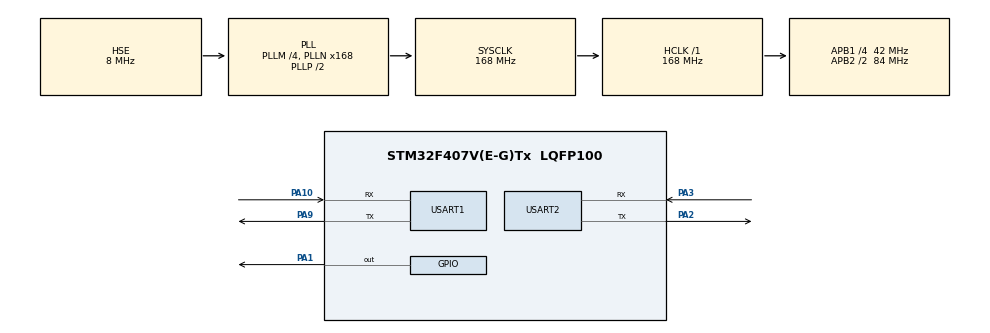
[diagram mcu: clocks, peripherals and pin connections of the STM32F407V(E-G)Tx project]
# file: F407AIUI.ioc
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Mcu.Family=STM32F4
Mcu.Name=STM32F407V(E-G)Tx
Mcu.Package=LQFP100
NVIC.PriorityGroup=NVIC_PRIORITYGROUP_4
NVIC.TIM1_UP_TIM10_IRQn=true\:0\:0\:false\:false\:true\:false\:true
NVIC.TIM6_DAC_IRQn=true\:0\:0\:false\:false\:true\:true\:true
NVIC.TimeBase=TIM1_UP_TIM10_IRQn
NVIC.TimeBaseIP=TIM1
NVIC.USART1_IRQn=true\:0\:0\:false\:true\:true\:2\:true\:true
NVIC.USART2_IRQn=true\:0\:0\:false\:true\:true\:1\:true\:true
PA1.GPIO_Speed=GPIO_SPEED_FREQ_HIGH
PA1.Signal=GPIO_Output
PA10.Mode=Asynchronous
PA10.Signal=USART1_RX
PA13.Mode=Serial_Wire
PA13.Signal=SYS_JTMS-SWDIO
PA14.Mode=Serial_Wire
PA14.Signal=SYS_JTCK-SWCLK
PA2.Mode=Asynchronous
PA2.Signal=USART2_TX
PA3.Mode=Asynchronous
PA3.Signal=USART2_RX
PA9.Mode=Asynchronous
PA9.Signal=USART1_TX
PC14-OSC32_IN.Mode=LSE-External-Oscillator
PC14-OSC32_IN.Signal=RCC_OSC32_IN
PC15-OSC32_OUT.Mode=LSE-External-Oscillator
PC15-OSC32_OUT.Signal=RCC_OSC32_OUT
PH0-OSC_IN.Mode=HSE-External-Oscillator
PH0-OSC_IN.Signal=RCC_OSC_IN
PH1-OSC_OUT.Mode=HSE-External-Oscillator
PH1-OSC_OUT.Signal=RCC_OSC_OUT
ProjectManager.HeapSize=0x200
ProjectManager.StackSize=0x400
ProjectManager.TargetToolchain=SW4STM32
RCC.48MHZClocksFreq_Value=84000000
RCC.AHBFreq_Value=168000000
RCC.APB1CLKDivider=RCC_HCLK_DIV4
RCC.APB1Freq_Value=42000000
RCC.APB1TimFreq_Value=84000000
RCC.APB2CLKDivider=RCC_HCLK_DIV2
RCC.APB2Freq_Value=84000000
RCC.APB2TimFreq_Value=168000000
RCC.CortexFreq_Value=168000000
RCC.HCLKFreq_Value=168000000
RCC.HSE_VALUE=8000000
RCC.HSI_VALUE=16000000
RCC.PLLM=4
RCC.PLLN=168
RCC.PLLSourceVirtual=RCC_PLLSOURCE_HSE
RCC.RCC_RTC_Clock_Source=RCC_RTCCLKSOURCE_LSE
RCC.RCC_RTC_Clock_SourceVirtual=RCC_RTCCLKSOURCE_LSE
RCC.SYSCLKFreq_VALUE=168000000
RCC.SYSCLKSource=RCC_SYSCLKSOURCE_PLLCLK
RCC.VCOOutputFreq_Value=336000000
RTC.Date=22
RTC.Hours=20
RTC.Minutes=38
RTC.Month=RTC_MONTH_OCTOBER
RTC.WeekDay=RTC_WEEKDAY_TUESDAY
RTC.Year=19
USART1.VirtualMode=VM_ASYNC
USART2.VirtualMode=VM_ASYNC
VP_RTC_VS_RTC_Activate.Mode=RTC_Enabled
VP_RTC_VS_RTC_Calendar.Mode=RTC_Calendar
VP_SYS_VS_tim1.Mode=TIM1
VP_TIM6_VS_ClockSourceINT.Mode=Enable_Timer
board=custom

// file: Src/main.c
/* USER CODE BEGIN Header */
/* USER CODE END Header */

#include "main.h"
#include "rtc.h"
#include "tim.h"
#include "usart.h"
#include "gpio.h"

/* USER CODE BEGIN Includes */
#include "aiui.h"

/* USER CODE END Includes */

void SystemClock_Config(void);
static void MX_NVIC_Init(void);

/* USER CODE BEGIN 0 */

uint8_t a[20480];
uint8_t b[20480];

//void rx_it_init() {
//    HAL_UART_Receive_IT(&huart1, a, 1);
//    HAL_UART_Receive_IT(&huart2, b, 1);
//    vTaskDelete(NULL);
//}
//
//void rx_it_deinit() {
//
//    vTaskDelete(NULL);
//}
//
//void set_wifi() {
//    HAL_GPIO_TogglePin(GPIOB, GPIO_PIN_5);
//    HAL_GPIO_TogglePin(GPIOE, GPIO_PIN_5);
//    wifi_init();
//    vTaskDelete(NULL);
//}
//
//void get_rtc() {
//    get_rtc_time();
//    vTaskDelete(NULL);
//}
//
//void aiui_link() {
//    aiui();
//    vTaskDelete(NULL);
//}

/* USER CODE END 0 */

int main(void)
{

  /* MCU Configuration--------------------------------------------------------*/

  /* Reset of all peripherals, Initializes the Flash interface and the Systick. */
  HAL_Init();

  /* Configure the system clock */
  SystemClock_Config();

  /* Initialize all configured peripherals */
  MX_GPIO_Init();
  MX_RTC_Init();
  MX_TIM6_Init();
  MX_USART1_UART_Init();
  MX_USART2_UART_Init();

  /* Initialize interrupts */
  MX_NVIC_Init();
  /* USER CODE BEGIN 2 */
    setvbuf(stdout, NULL, _IONBF, 0);
    HAL_UART_Receive_IT(&huart1, a, 1);
    HAL_UART_Receive_IT(&huart2, b, 1);

    wifi_init();
//    get_rtc_time();
    aiui();

  /* USER CODE END 2 */

  /* Infinite loop */
  /* USER CODE BEGIN WHILE */
//    xTaskCreate(rx_it_init, "rx_it_init", 128, NULL, 11, NULL);
//    xTaskCreate(rx_it_deinit, "rx_it_deinit", 128, NULL, 11, NULL);

//    xTaskHandle xHandle_set_wifi;
//    xTaskHandle xHandle_get_rtc;
//    xTaskHandle xHandle_aiui_connection;

//    //配网
//    xTaskCreate(set_wifi, "set_wifi", 128, NULL, 6, &xHandle_set_wifi);
//    //获取实时时间（ntp)
//    xTaskCreate(get_rtc, "get_rtc", 128, NULL, 5, &xHandle_get_rtc);
    //连接语音
//    xTaskCreate(aiui_link, "aiui_link", 128, NULL, 4, &xHandle_aiui_connection);
//
//    vTaskStartScheduler();
    while (1) {
    /* USER CODE END WHILE */

    }
}

void SystemClock_Config(void)
{
  RCC_OscInitTypeDef RCC_OscInitStruct = {0};
  RCC_ClkInitTypeDef RCC_ClkInitStruct = {0};
  RCC_PeriphCLKInitTypeDef PeriphClkInitStruct = {0};

  /** Configure the main internal regulator output voltage
  */
  __HAL_RCC_PWR_CLK_ENABLE();
  __HAL_PWR_VOLTAGESCALING_CONFIG(PWR_REGULATOR_VOLTAGE_SCALE1);
  /** Initializes the CPU, AHB and APB busses clocks
  */
  RCC_OscInitStruct.OscillatorType = RCC_OSCILLATORTYPE_HSE|RCC_OSCILLATORTYPE_LSE;
  RCC_OscInitStruct.HSEState = RCC_HSE_ON;
  RCC_OscInitStruct.LSEState = RCC_LSE_ON;
  RCC_OscInitStruct.PLL.PLLState = RCC_PLL_ON;
  RCC_OscInitStruct.PLL.PLLSource = RCC_PLLSOURCE_HSE;
  RCC_OscInitStruct.PLL.PLLM = 4;
  RCC_OscInitStruct.PLL.PLLN = 168;
  RCC_OscInitStruct.PLL.PLLP = RCC_PLLP_DIV2;
  RCC_OscInitStruct.PLL.PLLQ = 4;
  if (HAL_RCC_OscConfig(&RCC_OscInitStruct) != HAL_OK)
  {
    Error_Handler();
  }
  /** Initializes the CPU, AHB and APB busses clocks
  */
  RCC_ClkInitStruct.ClockType = RCC_CLOCKTYPE_HCLK|RCC_CLOCKTYPE_SYSCLK
                              |RCC_CLOCKTYPE_PCLK1|RCC_CLOCKTYPE_PCLK2;
  RCC_ClkInitStruct.SYSCLKSource = RCC_SYSCLKSOURCE_PLLCLK;
  RCC_ClkInitStruct.AHBCLKDivider = RCC_SYSCLK_DIV1;
  RCC_ClkInitStruct.APB1CLKDivider = RCC_HCLK_DIV4;
  RCC_ClkInitStruct.APB2CLKDivider = RCC_HCLK_DIV2;

  if (HAL_RCC_ClockConfig(&RCC_ClkInitStruct, FLASH_LATENCY_5) != HAL_OK)
  {
    Error_Handler();
  }
  PeriphClkInitStruct.PeriphClockSelection = RCC_PERIPHCLK_RTC;
  PeriphClkInitStruct.RTCClockSelection = RCC_RTCCLKSOURCE_LSE;
  if (HAL_RCCEx_PeriphCLKConfig(&PeriphClkInitStruct) != HAL_OK)
  {
    Error_Handler();
  }
}

/**
  * @brief NVIC Configuration.
  * @retval None
  */
static void MX_NVIC_Init(void)
{
  /* USART2_IRQn interrupt configuration */
  HAL_NVIC_SetPriority(USART2_IRQn, 0, 0);
  HAL_NVIC_EnableIRQ(USART2_IRQn);
  /* USART1_IRQn interrupt configuration */
  HAL_NVIC_SetPriority(USART1_IRQn, 0, 0);
  HAL_NVIC_EnableIRQ(USART1_IRQn);
}

/* USER CODE BEGIN 4 */

//HAL_StatusTypeDef HAL_RTCEx_SetSecond_IT(RTC_HandleTypeDef *hrtc){
//    RTC_TimeTypeDef stTime = {0};
//    RTC_DateTypeDef stDate = {0};
//    HAL_RTC_GetDate(hrtc, &stDate, RTC_FORMAT_BIN);
//    printf("20%02d:%02d:%02d:%02d\t", stDate.Year, stDate.Month, stDate.Date, stDate.WeekDay);
//    HAL_RTC_GetTime(hrtc, &stTime, RTC_FORMAT_BIN);
//    printf("%02d:%02d:%02d\r\n", stTime.Hours, stTime.Minutes, stTime.Seconds);
//
//}

//在串口中断回调函数中操作
void HAL_UART_RxCpltCallback(UART_HandleTypeDef *huart) {
    static int i = 0;
    static int j = 0;
    if (huart->Instance == USART1) {
        if (i < 20480) {
            HAL_UART_Transmit(&huart1, &a[i], 1, 0);
            HAL_UART_Receive_IT(&huart2,&a[i+1], 1);
            if (i == 20479) {
                i = 0;
            } else {
                i++;
            }
        }
    } else if (huart->Instance == USART2) {
        if (j < 20480) {
            HAL_UART_Transmit(&huart1, &b[j], 1, 0);
            HAL_UART_Receive_IT(&huart2, &b[j+1], 1);
            if (j == 20479) {
                j = 0;
            } else {
                j++;
            }
        }
    }
}

void HAL_RTC_AlarmAEventCallback(RTC_HandleTypeDef *hrtc) {
    HAL_GPIO_TogglePin(GPIOB, GPIO_PIN_5);
    printf("HELLO\r\n");
}

void HAL_RTCEx_RTCEventCallback(RTC_HandleTypeDef *hrtc) {
    RTC_TimeTypeDef stTime = {0};
    RTC_DateTypeDef stDate = {0};
    HAL_RTC_GetTime(hrtc, &stTime, RTC_FORMAT_BIN);
    HAL_RTC_GetDate(hrtc, &stDate, RTC_FORMAT_BIN);

    HAL_RTCEx_BKUPWrite(hrtc, RTC_BKP_DR2, (uint16_t) stDate.Year);
    HAL_RTCEx_BKUPWrite(hrtc, RTC_BKP_DR3, (uint16_t) stDate.Month);
    HAL_RTCEx_BKUPWrite(hrtc, RTC_BKP_DR4, (uint16_t) stDate.Date);
    HAL_RTCEx_BKUPWrite(hrtc, RTC_BKP_DR5, (uint16_t) stDate.WeekDay);

    printf("20%02d:%02d:%02d:%02d\t", stDate.Year, stDate.Month, stDate.Date, stDate.WeekDay);
    printf("%02d:%02d:%02d\r\n", stTime.Hours, stTime.Minutes, stTime.Seconds);
    printf("\r\n");

}

void HAL_GPIO_EXTI_Callback(uint16_t GPIO_Pin) {
    //判断按键是否按下
    if (GPIO_Pin == GPIO_PIN_2) {
        //延时 20ms 消除抖动
//        my_delay_us(20000);
        //再次判断按键是否按下
        if (!HAL_GPIO_ReadPin(GPIOE, GPIO_PIN_2)) {
            //�?????????????????????????????????????????�????????????????????????????????????????? LED
            HAL_GPIO_TogglePin(GPIOB, GPIO_PIN_5);
            //等待按键松变为为低电�????????????????????????????????????????? 则跳出循�?????????????????????????????????????????
            while (!HAL_GPIO_ReadPin(GPIOE, GPIO_PIN_2));
        }
    }
}
/* USER CODE END 4 */

void HAL_TIM_PeriodElapsedCallback(TIM_HandleTypeDef *htim)
{
  if (htim->Instance == TIM1) {
    HAL_IncTick();
  }
}

void Error_Handler(void)
{
}

/************************ (C) COPYRIGHT STMicroelectronics *****END OF FILE****/
